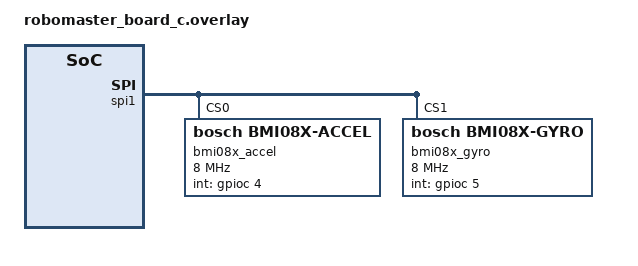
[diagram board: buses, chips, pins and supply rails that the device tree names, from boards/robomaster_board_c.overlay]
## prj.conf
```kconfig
# 启用线程分析器
CONFIG_THREAD_ANALYZER=y
CONFIG_THREAD_ANALYZER_USE_LOG=y
CONFIG_THREAD_ANALYZER_USE_PRINTK=n
CONFIG_THREAD_NAME=y
# CONFIG_THREAD_ANALYZER_AUTO=y
# CONFIG_THREAD_ANALYZER_AUTO_INTERVAL=5
CONFIG_THREAD_ANALYZER_LOG_LEVEL_INF=y
CONFIG_THREAD_ANALYZER_AUTO_SEPARATE_CORES=n

# 启用 Shell 支持
CONFIG_SHELL=n
CONFIG_SHELL_BACKENDS=n
CONFIG_SHELL_BACKEND_SERIAL=n

# 启用 UART 控制台
CONFIG_UART_CONSOLE=y

# 禁用 SEGGER RTT
CONFIG_USE_SEGGER_RTT=n

# 启用事件支持
CONFIG_EVENTS=y

# 启用控制台支持
CONFIG_CONSOLE=y

# 启用日志系统
CONFIG_LOG=y
CONFIG_LOG_MODE_IMMEDIATE=y
CONFIG_LOG_PRINTK=y
CONFIG_LOG_BACKEND_UART=y
CONFIG_LOG_MODE_IMMEDIATE=y

# 启用串行支持
CONFIG_SERIAL=y

# 禁用优化
CONFIG_NO_OPTIMIZATIONS=y

# 启用驱动
CONFIG_MOTOR=y
CONFIG_MOTOR_DJI=y
CONFIG_MOTOR_LOG_LEVEL=4
CONFIG_CAN=y
CONFIG_MOTOR_INIT_PRIORITY=90

CONFIG_ARES=y
CONFIG_ARES_SBUS=y
CONFIG_SBUS_INIT_PRIORITY=90

# use ASYNC uart API
CONFIG_SERIAL=y
CONFIG_UART_ASYNC_API=y
CONFIG_UART_INTERRUPT_DRIVEN=y

CONFIG_DMA=y
CONFIG_DMA_STM32=y  # STM32 DMA 驱动
CONFIG_UART_STM32=y # STM32 UART 驱动
# CONFIG_STM32_UART_DMA=y

# CONFIG_HAS_STM32CUBE=y
# CONFIG_USE_STM32_HAL_DMA=y
CONFIG_SPI=y
CONFIG_SPI_STM32=y

#
# Device Drivers
#
CONFIG_SENSOR=y
CONFIG_BMI08X=y
# CONFIG_BMI08X_ACCEL_TRIGGER_NONE is not set
CONFIG_BMI08X_ACCEL_TRIGGER_GLOBAL_THREAD=y
# CONFIG_BMI08X_ACCEL_TRIGGER_OWN_THREAD is not set
# CONFIG_BMI08X_GYRO_TRIGGER_NONE is not set
CONFIG_BMI08X_GYRO_TRIGGER_GLOBAL_THREAD=y
# CONFIG_BMI08X_GYRO_TRIGGER_OWN_THREAD is not set
CONFIG_BMI08X_I2C_WRITE_BURST_SIZE=16
CONFIG_CHASSIS=y
CONFIG_CHASSIS_STEER=y
```

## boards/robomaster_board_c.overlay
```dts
/ {
    swerve_chassis0 {
        compatible = "steer,chassis";
        status = "okay";
        wheel-count = <3>;  // 

        // 第1个轮子配置
        wheel_0 {
            drive-motor = <&motor0>;     // 引用驱动电机节点
            steering-motor = <&motor3>;   // 引用转向电机节点
            wheel-distance = <60>;       // 轮子到底盘中心距离(米)
            wheel-angle = <0>;         // 轮子相对x轴的角度(度)
			wheel-radius = <10>;
        };

        // 第2个轮子配置
        wheel_1 {
            drive-motor = <&motor1>;
            steering-motor = <&motor4>;
            wheel-distance = <60>;
            wheel-angle = <1200>;
			wheel-radius = <10>;
        };

        // 第3个轮子配置
        wheel_2 {
            drive-motor = <&motor2>;
            steering-motor = <&motor5>;
            wheel-distance = <60>;
            wheel-angle = <2400>;
			wheel-radius = <10>;
        };

        
    };

    

    // ... 其他电机节点类似定义 (motor3 到 motor8)

	rm_motor {
		motor0: motor0{
			compatible = "dji,motor";
            is_m3508;
			id = <1>;
            rx_id = <0x201>;
            tx_id = <0x200>;
			gear_ratio = <1920>;
			status = "okay";
			can_channel = <&canbus1>;
			controllers = <&angle_pid_1 &speed_pid_1>;
			capabilities = "angle", "speed";
		};

		motor1: motor1{
			compatible = "dji,motor";
            is_m3508;
			id = <2>;
            rx_id = <0x202>;
            tx_id = <0x200>;
			gear_ratio = <1920>;
			status = "okay";
			can_channel = <&canbus1>;
			controllers = <&angle_pid_2 &speed_pid_2>;
			capabilities = "angle", "speed";
		};

		motor2: motor2{
			compatible = "dji,motor";
            is_m3508;
			id = <3>;
            rx_id = <0x203>;
            tx_id = <0x200>;
			gear_ratio = <1920>;
			status = "okay";
			can_channel = <&canbus1>;
			controllers = <&angle_pid_3 &speed_pid_3>;
			capabilities = "angle", "speed";
		};
		motor3: motor3{
			compatible = "dji,motor";
            is_gm6020;
			id = <1>;
            rx_id = <0x201>;
            tx_id = <0x200>;
			gear_ratio = <1920>;
			status = "okay";
			can_channel = <&canbus1>;
			controllers = <&angle_pid_1 &speed_pid_1>;
			capabilities = "angle", "speed";
		};

		motor4: motor4{
			compatible = "dji,motor";
            is_m3508;
			id = <2>;
            rx_id = <0x202>;
            tx_id = <0x200>;
			gear_ratio = <1920>;
			status = "okay";
			can_channel = <&canbus1>;
			controllers = <&angle_pid_2 &speed_pid_2>;
			capabilities = "angle", "speed";
		};

		motor5: motor5{
			compatible = "dji,motor";
            is_m3508;
			id = <3>;
            rx_id = <0x203>;
            tx_id = <0x200>;
			gear_ratio = <1920>;
			status = "okay";
			can_channel = <&canbus1>;
			controllers = <&angle_pid_3 &speed_pid_3>;
			capabilities = "angle", "speed";
		};
		
	

	pid {
		angle_pid_1: angle_pid_1 {
			#controller-cells = <0>;
			compatible = "pid,single";
			k_p = <700>;
			k_i = <3>;
			k_d = <800>;
		};
		speed_pid_1: speed_pid_1 {
			#controller-cells = <0>;
			compatible = "pid,single";
			k_p = <180>;
			k_i = <20>;
			k_d = <20>;
		};
		angle_pid_2: angle_pid_2 {
			#controller-cells = <0>;
			compatible = "pid,single";
			k_p = <700>;
			k_i = <3>;
			k_d = <800>;
		};
		speed_pid_2: speed_pid_2 {
			#controller-cells = <0>;
			compatible = "pid,single";
			k_p = <180>;
			k_i = <20>;
			k_d = <20>;
		};
		angle_pid_3: angle_pid_3 {
			#controller-cells = <0>;
			compatible = "pid,single";
			k_p = <700>;
			k_i = <3>;
			k_d = <800>;
		};
		speed_pid_3: speed_pid_3 {
			#controller-cells = <0>;
			compatible = "pid,single";
			k_p = <180>;
			k_i = <20>;
			k_d = <20>;
		};
	};
	sbus0: sbus0 {
		compatible = "ares,sbus";
		status = "okay";
	};
};
};

&spi1 {
    status = "okay";

    bmi08x_accel: bmi08x_accel@0 {
        compatible = "bosch,bmi08x-accel";
		status = "okay";
        reg = <0>;
        spi-max-frequency = <8000000>;
        int-gpios = <&gpioc 4 GPIO_ACTIVE_HIGH>;
        accel-hz = "1600";
        accel-fs = <12>;
		int1-map-io = <0>;
		int2-map-io = <0>;
        int1-conf-io = <0>;
		int2-conf-io = <0>;
		
    };

    bmi08x_gyro: bmi08x_gyro@1{
        compatible = "bosch,bmi08x-gyro";
		status = "okay";
        reg = <1>;
        spi-max-frequency = <8000000>;
        int-gpios = <&gpioc 5 GPIO_ACTIVE_HIGH>;
        gyro-hz = "2000_532";
        gyro-fs = <2000>;
		int3-4-map-io = <0>;
		int3-4-conf-io = <0>;
        // 其他所需属性...
    };
};
```

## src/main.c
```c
#include <stddef.h>
#include <stdint.h>
#include <zephyr/device.h>
#include <zephyr/logging/log.h>
#include <zephyr/devicetree.h>
#include <zephyr/drivers/can.h>
#include <zephyr/debug/thread_analyzer.h>
#include <zephyr/kernel.h>
#include <zephyr/sys/printk.h>
#include <zephyr/drivers/motor.h>
#include <zephyr/drivers/sensor.h>
#include <zephyr/drivers/chassis.h>

LOG_MODULE_REGISTER(main, LOG_LEVEL_DBG);
const struct device *can_dev = DEVICE_DT_GET(DT_INST(0 ,vnd_canbus));
const struct device *motor1  = DEVICE_DT_GET(DT_NODELABEL(motor0));
const struct device *acc     = DEVICE_DT_GET(DT_INST(0, bosch_bmi08x_accel));
const struct device *gyro =DEVICE_DT_GET(DT_INST(0 ,bosch_bmi08x_gyro));
K_THREAD_STACK_DEFINE(feedback_stack_area, 4096); // 定义线程栈
const struct device *steer_chassis = DEVICE_DT_GET(DT_INST(0, steer_chassis));
int main(void)
{
    
 
    
    
    k_sleep(K_MSEC(50));
    
    motor_set_mode(motor1, MIT);
    motor_control(motor1, ENABLE_MOTOR);
    motor_set_speed(motor1, 20);

    
   
   

    while (1) {
        // motor1_rpm = motor_get_speed(motor1);
        // LOG_INF("rpm: motor1: %.2f %.2f\n", (double)motor1_rpm, (double)motor_get_speed(motor1));
        k_msleep(5);
        // k_sleep(K_FOREVER);
    }
}
```
